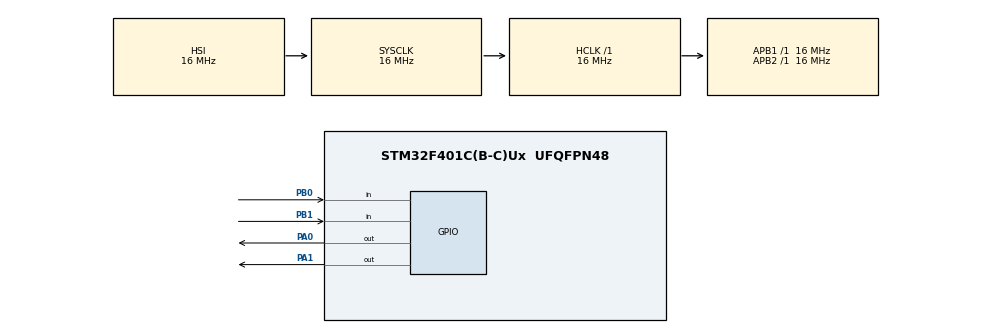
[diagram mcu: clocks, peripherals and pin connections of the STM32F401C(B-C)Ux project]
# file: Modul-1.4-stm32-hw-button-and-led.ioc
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Mcu.Family=STM32F4
Mcu.Name=STM32F401C(B-C)Ux
Mcu.Package=UFQFPN48
NVIC.PriorityGroup=NVIC_PRIORITYGROUP_4
PA0-WKUP.Signal=GPIO_Output
PA1.Signal=GPIO_Output
PB0.Signal=GPIO_Input
PB1.Signal=GPIO_Input
ProjectManager.HeapSize=0x200
ProjectManager.StackSize=0x400
ProjectManager.TargetToolchain=STM32CubeIDE
RCC.AHBFreq_Value=16000000
RCC.APB1Freq_Value=16000000
RCC.APB2Freq_Value=16000000
RCC.CortexFreq_Value=16000000
RCC.HSE_VALUE=25000000
RCC.HSI_VALUE=16000000
RCC.LSE_VALUE=32768
RCC.SYSCLKFreq_VALUE=16000000
RCC.VCOOutputFreq_Value=192000000
board=custom

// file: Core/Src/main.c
/* USER CODE BEGIN Header */
/**
  ******************************************************************************
  * @file           : main.c
  * @brief          : Main program body
  ******************************************************************************
  * @attention
  *
  * Copyright (c) 2026 STMicroelectronics.
  * All rights reserved.
  *
  * This software is licensed under terms that can be found in the LICENSE file
  * in the root directory of this software component.
  * If no LICENSE file comes with this software, it is provided AS-IS.
  *
  ******************************************************************************
  */
/* USER CODE END Header */
#include "main.h"

/* USER CODE BEGIN PV */

	uint32_t blinkDelay = 1000;

/* USER CODE END PV */

void SystemClock_Config(void);
static void MX_GPIO_Init(void);

int main(void)
{

  /* MCU Configuration--------------------------------------------------------*/

  /* Reset of all peripherals, Initializes the Flash interface and the Systick. */
  HAL_Init();

  /* Configure the system clock */
  SystemClock_Config();

  /* Initialize all configured peripherals */
  MX_GPIO_Init();

  /* Infinite loop */
  /* USER CODE BEGIN WHILE */
  while (1)
  {
	  GPIO_PinState firstButtonState = HAL_GPIO_ReadPin(GPIOB, GPIO_PIN_0);
	  GPIO_PinState secondButtonState = HAL_GPIO_ReadPin(GPIOB, GPIO_PIN_1);

	  if (firstButtonState == GPIO_PIN_SET)
	  {
	      blinkDelay = 100;
	      HAL_Delay(50);
	  }
	  else if (secondButtonState == GPIO_PIN_SET)
	  {
	      blinkDelay = 600;
	      HAL_Delay(50);
	  }

	  HAL_GPIO_WritePin(GPIOA, GPIO_PIN_0, GPIO_PIN_SET);
	  HAL_GPIO_WritePin(GPIOA, GPIO_PIN_1, GPIO_PIN_RESET);

	  HAL_Delay(blinkDelay);

	  HAL_GPIO_WritePin(GPIOA, GPIO_PIN_0, GPIO_PIN_RESET);
	  HAL_GPIO_WritePin(GPIOA, GPIO_PIN_1, GPIO_PIN_SET);

	  HAL_Delay(blinkDelay);

    /* USER CODE END WHILE */

  }
}

void SystemClock_Config(void)
{
  RCC_OscInitTypeDef RCC_OscInitStruct = {0};
  RCC_ClkInitTypeDef RCC_ClkInitStruct = {0};

  /** Configure the main internal regulator output voltage
  */
  __HAL_RCC_PWR_CLK_ENABLE();
  __HAL_PWR_VOLTAGESCALING_CONFIG(PWR_REGULATOR_VOLTAGE_SCALE2);

  /** Initializes the RCC Oscillators according to the specified parameters
  * in the RCC_OscInitTypeDef structure.
  */
  RCC_OscInitStruct.OscillatorType = RCC_OSCILLATORTYPE_HSI;
  RCC_OscInitStruct.HSIState = RCC_HSI_ON;
  RCC_OscInitStruct.HSICalibrationValue = RCC_HSICALIBRATION_DEFAULT;
  RCC_OscInitStruct.PLL.PLLState = RCC_PLL_NONE;
  if (HAL_RCC_OscConfig(&RCC_OscInitStruct) != HAL_OK)
  {
    Error_Handler();
  }

  /** Initializes the CPU, AHB and APB buses clocks
  */
  RCC_ClkInitStruct.ClockType = RCC_CLOCKTYPE_HCLK|RCC_CLOCKTYPE_SYSCLK
                              |RCC_CLOCKTYPE_PCLK1|RCC_CLOCKTYPE_PCLK2;
  RCC_ClkInitStruct.SYSCLKSource = RCC_SYSCLKSOURCE_HSI;
  RCC_ClkInitStruct.AHBCLKDivider = RCC_SYSCLK_DIV1;
  RCC_ClkInitStruct.APB1CLKDivider = RCC_HCLK_DIV1;
  RCC_ClkInitStruct.APB2CLKDivider = RCC_HCLK_DIV1;

  if (HAL_RCC_ClockConfig(&RCC_ClkInitStruct, FLASH_LATENCY_0) != HAL_OK)
  {
    Error_Handler();
  }
}

static void MX_GPIO_Init(void)
{
  GPIO_InitTypeDef GPIO_InitStruct = {0};

  /* GPIO Ports Clock Enable */
  __HAL_RCC_GPIOA_CLK_ENABLE();
  __HAL_RCC_GPIOB_CLK_ENABLE();

  /*Configure GPIO pin Output Level */
  HAL_GPIO_WritePin(GPIOA, GPIO_PIN_0|GPIO_PIN_1, GPIO_PIN_RESET);

  /*Configure GPIO pins : PA0 PA1 */
  GPIO_InitStruct.Pin = GPIO_PIN_0|GPIO_PIN_1;
  GPIO_InitStruct.Mode = GPIO_MODE_OUTPUT_PP;
  GPIO_InitStruct.Pull = GPIO_NOPULL;
  GPIO_InitStruct.Speed = GPIO_SPEED_FREQ_LOW;
  HAL_GPIO_Init(GPIOA, &GPIO_InitStruct);

  /*Configure GPIO pins : PB0 PB1 */
  GPIO_InitStruct.Pin = GPIO_PIN_0|GPIO_PIN_1;
  GPIO_InitStruct.Mode = GPIO_MODE_INPUT;
  GPIO_InitStruct.Pull = GPIO_NOPULL;
  HAL_GPIO_Init(GPIOB, &GPIO_InitStruct);

}

void Error_Handler(void)
{
  __disable_irq();
  while (1)
  {
  }
}
